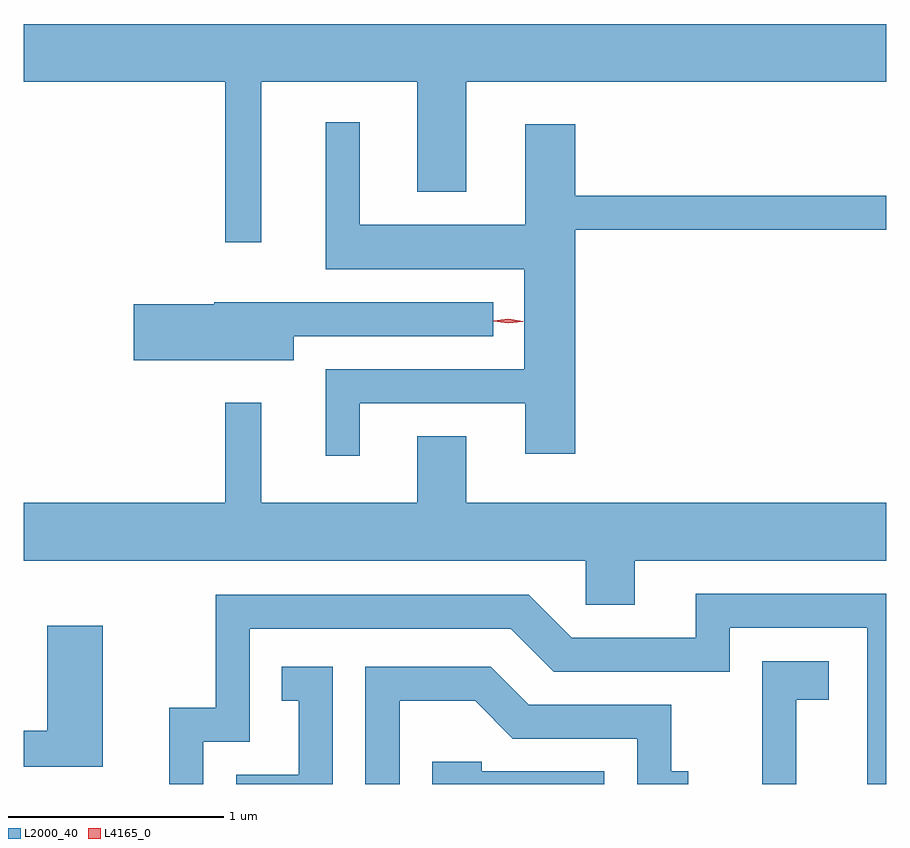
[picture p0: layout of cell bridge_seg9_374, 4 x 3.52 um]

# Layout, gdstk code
import gdstk
lib = gdstk.Library(unit=1e-6, precision=1e-09)
def P(c, l, *ps):  # polygons
    for p in ps: c.add(gdstk.Polygon(p, *l))
L2000_40 = (2000, 40)
L4165_0 = (4165, 0)

bridge_seg9_374 = lib.new_cell('bridge_seg9_374')
P(bridge_seg9_374, L2000_40, [(1019.899,1949.636),(1020.621,1949.636),(1020.621,1949.126),(1020.849,1949.126),(1020.849,1949.636),(1022.796,1949.636),(1022.796,1949.904),(1018.796,1949.904),(1018.796,1949.636),(1019.731,1949.636),(1019.731,1948.893),(1019.899,1948.893)],
  [(1020.354,1948.146),(1021.121,1948.146),(1021.121,1947.911),(1021.354,1947.911),(1021.354,1948.951),(1022.796,1948.951),(1022.796,1949.109),(1021.354,1949.109),(1021.354,1949.439),(1021.121,1949.439),(1021.121,1948.974),(1020.354,1948.974),(1020.354,1949.448),(1020.196,1949.448),(1020.196,1948.766),(1021.116,1948.766),(1021.116,1948.304),(1020.196,1948.304),(1020.196,1947.903),(1020.354,1947.903)],
  [(1020.049,1948.456),(1020.973,1948.456),(1020.973,1948.614),(1019.68,1948.614),(1019.68,1948.604),(1019.306,1948.604),(1019.306,1948.346),(1020.049,1948.346)],
  [(1021.629,1947.416),(1022.796,1947.416),(1022.796,1947.684),(1020.849,1947.684),(1020.849,1947.994),(1020.621,1947.994),(1020.621,1947.684),(1019.899,1947.684),(1019.899,1948.148),(1019.731,1948.148),(1019.731,1947.684),(1018.796,1947.684),(1018.796,1947.416),(1021.401,1947.416),(1021.401,1947.211),(1021.629,1947.211)],
  [(1019.629,1946.576),(1019.844,1946.576),(1019.844,1947.101),(1021.054,1947.101),(1021.254,1946.901),(1022.069,1946.901),(1022.069,1947.106),(1022.706,1947.106),(1022.706,1946.381),(1022.796,1946.381),(1022.796,1947.264),(1021.911,1947.264),(1021.911,1947.059),(1021.337,1947.059),(1021.137,1947.259),(1019.686,1947.259),(1019.686,1946.734),(1019.471,1946.734),(1019.471,1946.381),(1019.629,1946.381)],
  [(1019.164,1947.114),(1018.906,1947.114),(1018.906,1946.629),(1018.796,1946.629),(1018.796,1946.461),(1019.164,1946.461)],
  [(1022.379,1946.771),(1022.529,1946.771),(1022.529,1946.949),(1022.221,1946.949),(1022.221,1946.381),(1022.379,1946.381)],
  [(1020.539,1946.766),(1020.889,1946.766),(1021.064,1946.591),(1021.641,1946.591),(1021.641,1946.381),(1021.878,1946.381),(1021.878,1946.439),(1021.799,1946.439),(1021.799,1946.749),(1021.137,1946.749),(1020.962,1946.924),(1020.381,1946.924),(1020.381,1946.381),(1020.539,1946.381)],
  [(1020.229,1946.924),(1019.993,1946.924),(1019.993,1946.766),(1020.071,1946.766),(1020.071,1946.424),(1019.781,1946.424),(1019.781,1946.381),(1020.229,1946.381)],
  [(1021.489,1946.439),(1020.919,1946.439),(1020.919,1946.484),(1020.691,1946.484),(1020.691,1946.381),(1021.489,1946.381)])
P(bridge_seg9_374, L4165_0, [(1021.043,1948.517),(1020.974,1948.526),(1020.973,1948.527),(1020.974,1948.528),(1021.043,1948.537),(1021.112,1948.527),(1021.113,1948.526),(1021.112,1948.526)],
  [(1021.043,1948.516),(1020.977,1948.526),(1020.977,1948.527),(1020.977,1948.528),(1021.043,1948.536),(1021.109,1948.525),(1021.109,1948.524),(1021.109,1948.524)])

lib.write_gds('bridge_seg9_374.gds')
